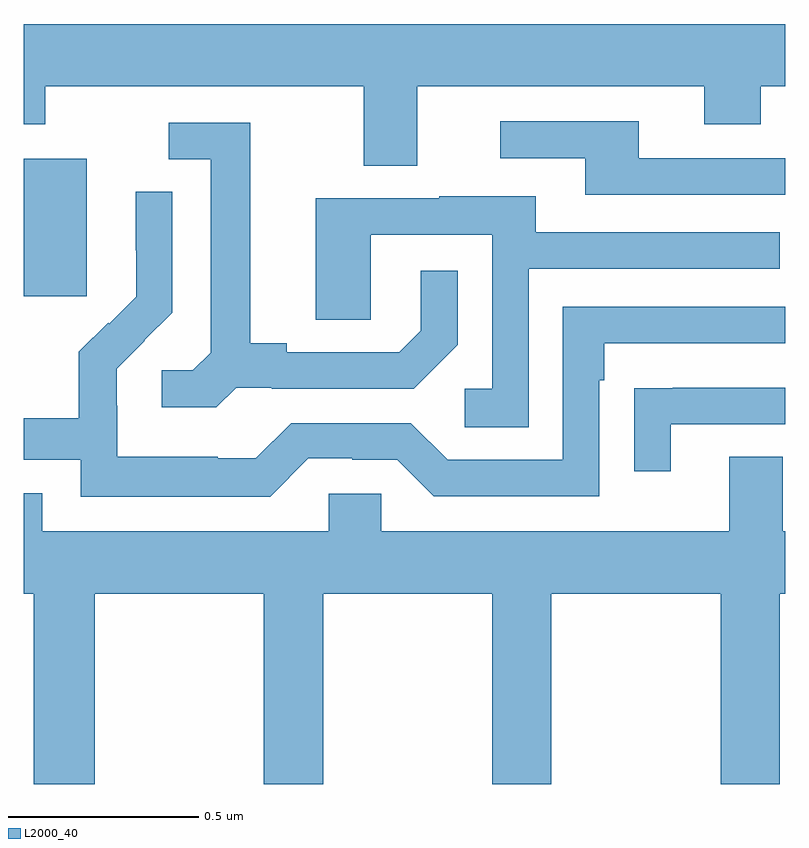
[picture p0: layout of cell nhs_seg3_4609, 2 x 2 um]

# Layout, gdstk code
import gdstk
lib = gdstk.Library(unit=1e-6, precision=1e-09)
def R(c, l, rs):  # rectangles x0, y0, x1, y1
    for r in rs: c.add(gdstk.rectangle(r[:2], r[2:], *l))
def P(c, l, *ps):  # polygons
    for p in ps: c.add(gdstk.Polygon(p, *l))
L2000_40 = (2000, 40)

nhs_seg3_4609 = lib.new_cell('nhs_seg3_4609')
R(nhs_seg3_4609, L2000_40, [(168,717.681,168.166,718.042)])
P(nhs_seg3_4609, L2000_40, [(169.033,718.232),(169.787,718.232),(169.787,718.133),(169.935,718.133),(169.935,718.232),(170,718.232),(170,718.396),(168,718.396),(168,718.133),(168.057,718.133),(168.057,718.232),(168.893,718.232),(168.893,718.024),(169.033,718.024)],
  [(170,718.044),(169.615,718.044),(169.615,718.14),(169.251,718.14),(169.251,718.044),(169.475,718.044),(169.475,717.948),(170,717.948)],
  [(168.558,717.441),(168.652,717.441),(168.652,717.438),(169.024,717.438),(169.14,717.554),(169.14,717.748),(169.043,717.748),(169.043,717.591),(168.986,717.534),(168.691,717.534),(168.691,717.557),(168.595,717.557),(168.595,718.137),(168.381,718.137),(168.381,718.041),(168.491,718.041),(168.491,717.533),(168.444,717.486),(168.363,717.486),(168.363,717.389),(168.506,717.389)],
  [(168.747,717.255),(168.863,717.255),(168.863,717.252),(168.981,717.252),(169.077,717.156),(169.512,717.156),(169.512,717.461),(169.525,717.461),(169.525,717.558),(170,717.558),(170,717.654),(169.416,717.654),(169.416,717.252),(169.113,717.252),(169.017,717.348),(168.702,717.348),(168.609,717.255),(168.509,717.255),(168.509,717.259),(168.246,717.259),(168.246,717.393),(168.244,717.393),(168.244,717.49),(168.318,717.564),(168.317,717.565),(168.39,717.638),(168.39,717.956),(168.294,717.956),(168.294,717.802),(168.296,717.802),(168.296,717.68),(168.225,717.609),(168.222,717.612),(168.145,717.535),(168.145,717.361),(168,717.361),(168,717.252),(168.15,717.252),(168.15,717.155),(168.647,717.155)],
  [(169.326,717.753),(169.985,717.753),(169.985,717.849),(169.345,717.849),(169.345,717.943),(169.091,717.943),(169.091,717.939),(168.767,717.939),(168.767,717.619),(168.912,717.619),(168.912,717.843),(169.23,717.843),(169.23,717.438),(169.158,717.438),(169.158,717.337),(169.326,717.337)],
  [(169.699,717.345),(170,717.345),(170,717.441),(169.705,717.441),(169.705,717.44),(169.603,717.44),(169.603,717.222),(169.699,717.222)],
  [(168.186,716.9),(168.631,716.9),(168.631,716.4),(168.786,716.4),(168.786,716.9),(169.231,716.9),(169.231,716.4),(169.386,716.4),(169.386,716.9),(169.831,716.9),(169.831,716.4),(169.986,716.4),(169.986,716.9),(170,716.9),(170,717.064),(169.993,717.064),(169.993,717.259),(169.853,717.259),(169.853,717.064),(168.939,717.064),(168.939,717.162),(168.801,717.162),(168.801,717.064),(168.049,717.064),(168.049,717.163),(168,717.163),(168,716.9),(168.026,716.9),(168.026,716.4),(168.186,716.4)])

lib.write_gds('nhs_seg3_4609.gds')
